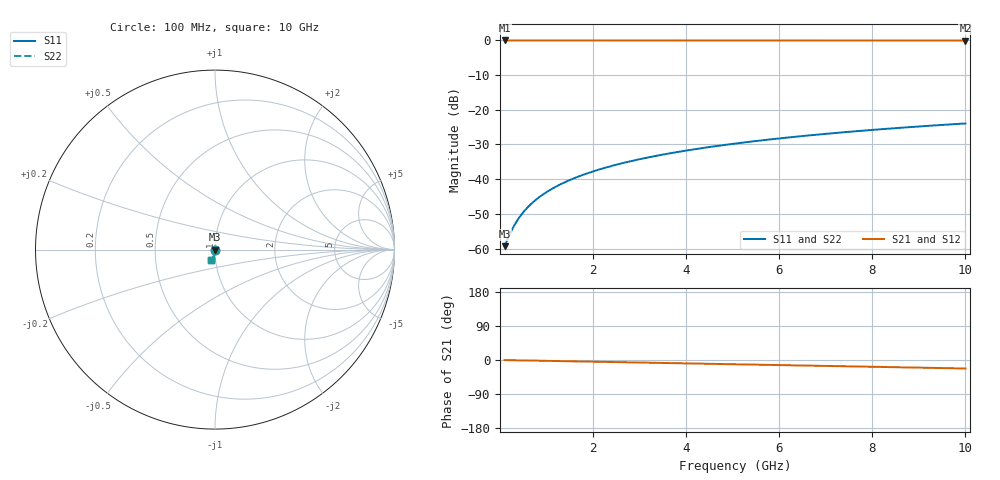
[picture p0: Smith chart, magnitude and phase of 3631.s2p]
# Hz S RI R 50.00
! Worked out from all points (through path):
!   100 points, 100 MHz to 10 GHz, reference 50 ohm
!   highest |S21| = -0.01 dB at 100 MHz (marker M1); lowest = 0.0 dB at 10 GHz (marker M2)
!   group delay of S21, straight-line fit = 6.23 ps
!   lowest |S11| = -59.3 dB at 100 MHz (marker M3), VSWR 1.00, Z = 50.1 - j0.0648 ohm
!   |S11| at or under -10 dB: start of sweep to end of sweep
!   |S22| runs from -59.3 to -23.9 dB; largest |S21 - S12| = 0
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1e8  0.000867 -0.000647  0.9991 -0.00388  0.9991 -0.00388  0.000867 -0.000647
2e8  0.000863 -0.00129  0.9991 -0.00775  0.9991 -0.00775  0.000863 -0.00129
3e8  0.000852 -0.00194  0.999 -0.0116  0.999 -0.0116  0.000852 -0.00194
4e8  0.000836 -0.00259  0.999 -0.0155  0.999 -0.0155  0.000836 -0.00259
5e8  0.000815 -0.00324  0.9989 -0.0194  0.9989 -0.0194  0.000815 -0.00324
6e8  0.000788 -0.00388  0.9988 -0.0233  0.9988 -0.0233  0.000788 -0.00388
7e8  0.000755 -0.00453  0.9987 -0.0271  0.9987 -0.0271  0.000755 -0.00453
9e8  0.000675 -0.00582  0.9985 -0.0349  0.9985 -0.0349  0.000675 -0.00582
1e9  0.000627 -0.00647  0.9983 -0.0388  0.9983 -0.0388  0.000627 -0.00647
1.2e9  0.000516 -0.00776  0.998 -0.0465  0.998 -0.0465  0.000516 -0.00776
1.5e9  0.000312 -0.0097  0.9973 -0.0581  0.9973 -0.0581  0.000312 -0.0097
1.8e9  6.11e-05 -0.0116  0.9965 -0.0698  0.9965 -0.0698  6.11e-05 -0.0116
2.1e9  -0.000235 -0.0136  0.9956 -0.0814  0.9956 -0.0814  -0.000235 -0.0136
2.5e9  -0.0007 -0.0161  0.9942 -0.0969  0.9942 -0.0969  -0.0007 -0.0161
2.9e9  -0.00125 -0.0187  0.9925 -0.1123  0.9925 -0.1123  -0.00125 -0.0187
3.4e9  -0.00204 -0.0219  0.99 -0.1316  0.99 -0.1316  -0.00204 -0.0219
4.2e9  -0.00357 -0.0269  0.9853 -0.1624  0.9853 -0.1624  -0.00357 -0.0269
5.1e9  -0.00566 -0.0324  0.9788 -0.197  0.9788 -0.197  -0.00566 -0.0324
5.9e9  -0.00785 -0.0372  0.9719 -0.2275  0.9719 -0.2275  -0.00785 -0.0372
6.7e9  -0.0103 -0.0418  0.9641 -0.2578  0.9641 -0.2578  -0.0103 -0.0418
8.4e9  -0.0166 -0.0511  0.9441 -0.3214  0.9441 -0.3214  -0.0166 -0.0511
1e10  -0.0235 -0.059  0.9214 -0.3801  0.9214 -0.3801  -0.0235 -0.059
